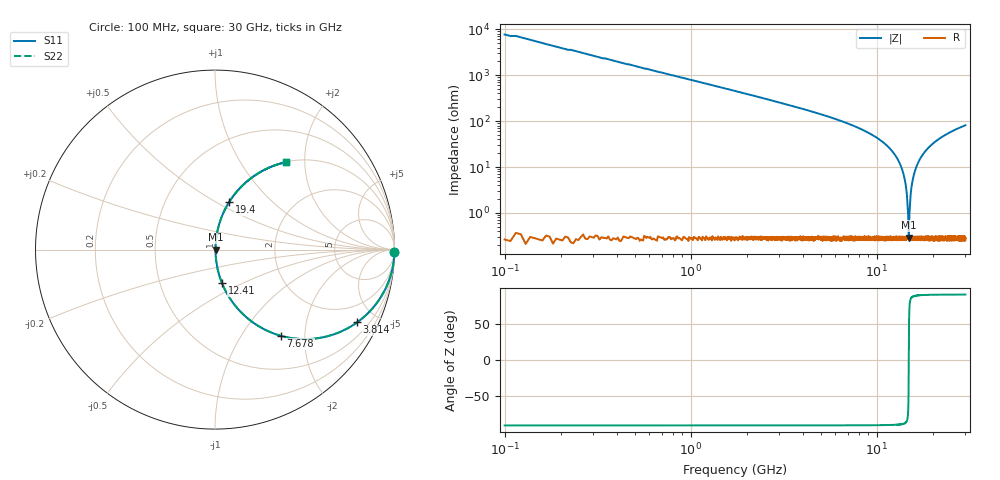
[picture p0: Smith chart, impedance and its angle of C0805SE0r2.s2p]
! AVX Thin Film Operation		Date: April 2012
! Description: Accu-P® Series, Thin Film, SMD, RF Capacitor
! Part Number: 08051J0R2PBTTR
!	100	MHz	-	30.05	GHz
!	Serial	Measurements
#	MHZ	S	MA	R	50
!	S11	S21	S12	S22
!	dB	Phase	dB	Phase	dB	Phase	dB	Phase
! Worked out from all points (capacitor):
!   4010 points, 100 MHz to 30 GHz, reference 50 ohm
!   read as one part in series: C = 200 fF near 249.2 MHz
!   lowest |Z| = 291 mohm at 14.88 GHz (marker M1)
!   series resonance near 14.89 GHz, so ESL is about 570 pH
!   S11 on the Smith chart (normalised r, x): 100 MHz: open; 3.814 GHz: 1.01, -3.90; 7.678 GHz: 1.01, -1.52; 12.41 GHz: 1.01, -0.39; 19.4 GHz: 1.01, +0.57; 30 GHz: 1.01, +1.62
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100  1 -0.7  0.013 89.3  0.013 89.3  1 -0.7
502.744  0.998 -3.6  0.063 86.4  0.063 86.4  0.998 -3.6
1121.776  0.99 -8.1  0.14 81.9  0.14 81.9  0.99 -8.1
2233.051  0.961 -16.0  0.276 73.9  0.276 73.9  0.961 -16.0
3814.193  0.889 -27.1  0.456 62.8  0.456 62.8  0.889 -27.1
5089.549  0.809 -35.9  0.586 54.0  0.586 54.0  0.809 -35.9
7677.551  0.604 -52.6  0.794 37.2  0.794 37.2  0.604 -52.6
10071.64  0.393 -66.5  0.917 23.1  0.917 23.1  0.393 -66.5
12406.06  0.192 -78.1  0.979 11.1  0.979 11.1  0.192 -78.1
14151.28  0.054 -83.9  0.996 3.1  0.996 3.1  0.054 -83.9
14531.65  0.026 -82.3  0.997 1.5  0.997 1.5  0.026 -82.3
14792.69  0.00722 -66.9  0.997 0.4  0.997 0.4  0.00722 -66.9
14882.19  0.0028 -4.6  0.997 0.0  0.997 0.0  0.0028 -4.6
15053.73  0.012 76.2  0.997 -0.7  0.997 -0.7  0.012 76.2
15210.35  0.023 81.8  0.997 -1.3  0.997 -1.3  0.023 81.8
15426.64  0.038 83.6  0.996 -2.2  0.996 -2.2  0.038 83.6
16179.92  0.089 83.1  0.993 -5.1  0.993 -5.1  0.089 83.1
17447.82  0.168 79.4  0.983 -9.7  0.983 -9.7  0.168 79.4
19401.87  0.275 73.5  0.959 -16.0  0.959 -16.0  0.275 73.5
20035.82  0.306 71.7  0.949 -17.8  0.949 -17.8  0.306 71.7
25017.91  0.501 59.7  0.863 -30.1  0.863 -30.1  0.501 59.7
30000  0.629 50.8  0.775 -39.0  0.775 -39.0  0.629 50.8
